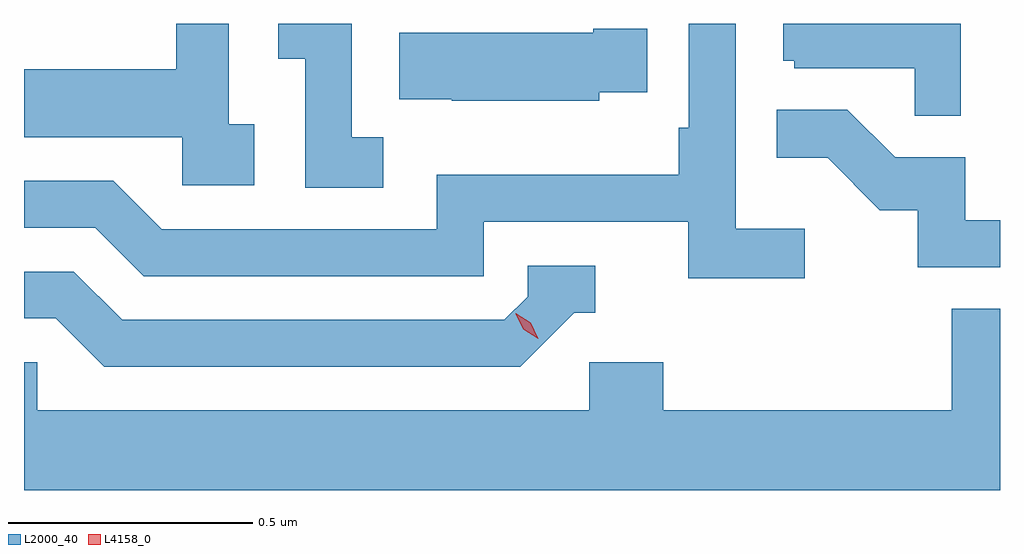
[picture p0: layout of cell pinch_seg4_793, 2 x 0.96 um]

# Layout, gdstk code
import gdstk
lib = gdstk.Library(unit=1e-6, precision=1e-09)
def P(c, l, *ps):  # polygons
    for p in ps: c.add(gdstk.Polygon(p, *l))
L2000_40 = (2000, 40)
L4158_0 = (4158, 0)

pinch_seg4_793 = lib.new_cell('pinch_seg4_793')
P(pinch_seg4_793, L2000_40, [(819.646,818.855),(819.582,818.855),(819.582,819.088),(819.431,819.088),(819.431,819.016),(819.486,819.016),(819.486,818.752),(819.646,818.752)],
  [(820.51,818.668),(820.368,818.668),(820.368,819.088),(820.272,819.088),(820.272,818.875),(820.252,818.875),(820.252,818.779),(819.756,818.779),(819.756,818.667),(819.192,818.667),(819.093,818.766),(818.91,818.766),(818.91,818.67),(819.056,818.67),(819.155,818.571),(819.852,818.571),(819.852,818.682),(820.271,818.682),(820.271,818.566),(820.51,818.566)],
  [(819.382,818.882),(819.33,818.882),(819.33,819.088),(819.222,819.088),(819.222,818.995),(818.91,818.995),(818.91,818.855),(819.234,818.855),(819.234,818.757),(819.382,818.757)],
  [(820.83,819.088),(820.466,819.088),(820.466,819.012),(820.488,819.012),(820.488,818.997),(820.735,818.997),(820.735,818.899),(820.83,818.899)],
  [(820.089,818.948),(820.187,818.948),(820.187,819.078),(820.076,819.078),(820.076,819.07),(819.679,819.07),(819.679,818.933),(819.787,818.933),(819.787,818.93),(820.089,818.93)],
  [(820.91,818.685),(820.839,818.685),(820.839,818.814),(820.695,818.814),(820.597,818.912),(820.453,818.912),(820.453,818.813),(820.557,818.813),(820.664,818.706),(820.741,818.706),(820.741,818.589),(820.91,818.589)],
  [(820.038,818.496),(820.081,818.496),(820.081,818.592),(819.942,818.592),(819.942,818.529),(819.894,818.481),(819.111,818.481),(819.012,818.58),(818.91,818.58),(818.91,818.484),(818.975,818.484),(819.074,818.385),(819.927,818.385)],
  [(820.91,818.504),(820.811,818.504),(820.811,818.296),(820.22,818.296),(820.22,818.394),(820.068,818.394),(820.068,818.296),(818.937,818.296),(818.937,818.394),(818.91,818.394),(818.91,818.132),(820.91,818.132)])
P(pinch_seg4_793, L4158_0, [(819.964,818.442),(819.933,818.462),(819.918,818.494),(819.918,818.495),(819.918,818.495),(819.948,818.475),(819.964,818.442),(819.964,818.442)])

lib.write_gds('pinch_seg4_793.gds')
